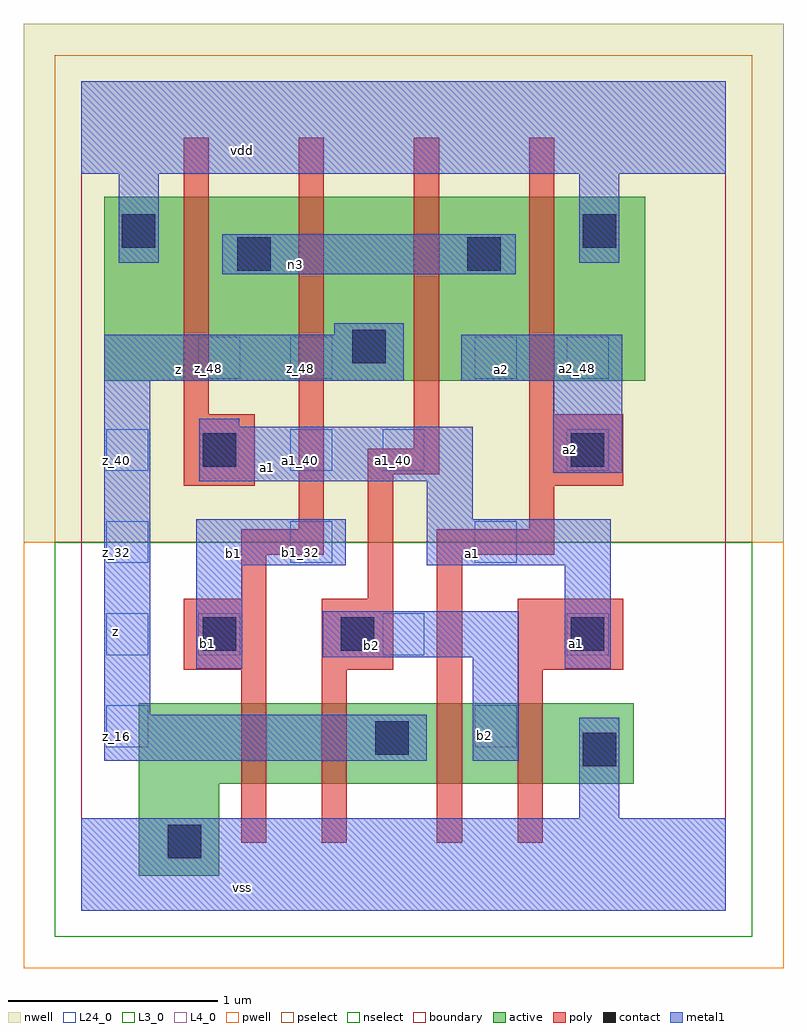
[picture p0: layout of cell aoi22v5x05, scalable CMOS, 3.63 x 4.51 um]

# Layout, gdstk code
import gdstk
lib = gdstk.Library(unit=1e-6, precision=2.5e-09)
def R(c, l, rs):  # rectangles x0, y0, x1, y1
    for r in rs: c.add(gdstk.rectangle(r[:2], r[2:], *l))
def A(c, l, x, y, w, h, nx, ny, dx, dy):  # array of equal rectangles
    R(c, l, [(x+i*dx, y+j*dy, x+i*dx+w, y+j*dy+h) for i in range(nx) for j in range(ny)])
L3_0 = (3, 0)
L4_0 = (4, 0)
L24_0 = (24, 0)
contact = (25, 0)
pwell = (41, 0)
nwell = (42, 0)
active = (43, 0)
pselect = (44, 0)
nselect = (45, 0)
poly = (46, 0)
metal1 = (49, 0)
boundary = (63, 0)

aoi22v5x05 = lib.new_cell('aoi22v5x05')
R(aoi22v5x05, L3_0, [(0.275,0.165,0.66,0.605), (0.275,0.605,2.64,0.99)])
R(aoi22v5x05, L4_0, [(0.11,2.53,2.695,3.41)])
A(aoi22v5x05, L24_0, 0.56, 1.22, 0.2, 0.2, 3, 1, 0.88, 0)
A(aoi22v5x05, L24_0, 0.12, 1.66, 0.2, 0.2, 3, 1, 0.88, 0)
R(aoi22v5x05, L24_0, [(0.12,0.78,0.32,0.98), (1.88,0.78,2.08,0.98), (0.12,1.22,0.32,1.42), (0.12,2.1,0.32,2.3), (1,2.1,1.2,2.3), (1.44,2.1,1.64,2.3), (2.32,2.1,2.52,2.3), (0.56,2.54,0.76,2.74), (1,2.54,1.2,2.74), (1.88,2.54,2.08,2.74), (2.32,2.54,2.52,2.74)])
R(aoi22v5x05, contact, [(0.415,0.25,0.575,0.41), (2.395,0.69,2.555,0.85), (1.405,0.745,1.565,0.905), (0.58,1.24,0.74,1.4), (1.24,1.24,1.4,1.4), (2.34,1.24,2.5,1.4), (0.58,2.12,0.74,2.28), (2.34,2.12,2.5,2.28), (1.295,2.615,1.455,2.775), (0.745,3.055,0.905,3.215), (1.845,3.055,2.005,3.215), (0.195,3.165,0.355,3.325), (2.395,3.165,2.555,3.325)])
R(aoi22v5x05, pwell, [(-0.275,-0.275,3.355,1.76)])
R(aoi22v5x05, nwell, [(-0.275,1.76,3.355,4.235)])
R(aoi22v5x05, active, [(0.275,0.165,0.66,0.605), (0.275,0.605,2.64,0.99), (0.11,2.53,2.695,3.41)])
R(aoi22v5x05, pselect, [(-0.125,1.76,3.205,4.085)])
R(aoi22v5x05, nselect, [(-0.125,-0.125,3.205,1.76)])
R(aoi22v5x05, poly, [(0.765,0.325,0.885,1.15), (1.15,0.325,1.27,1.15), (1.7,0.325,1.82,1.7), (2.085,0.325,2.205,1.15), (0.49,1.15,0.885,1.49), (1.15,1.15,1.49,1.49), (2.085,1.15,2.59,1.49), (0.765,1.49,0.885,1.7), (1.37,1.49,1.49,2.085), (0.765,1.7,1.16,1.82), (1.7,1.7,2.26,1.82), (1.04,1.82,1.16,3.69), (2.14,1.82,2.26,2.03), (0.49,2.03,0.83,2.37), (2.14,2.03,2.59,2.37), (1.37,2.085,1.71,2.205), (1.59,2.205,1.71,3.69), (0.49,2.37,0.61,3.69), (2.14,2.37,2.26,3.69)])
R(aoi22v5x05, metal1, [(0,0,3.08,0.44), (2.38,0.44,2.57,0.92), (0.11,0.715,1.65,0.935), (1.87,0.715,2.09,1.21), (0.11,0.935,0.33,2.53), (0.55,1.155,0.77,1.65), (2.31,1.155,2.53,1.65), (1.155,1.21,2.09,1.43), (0.55,1.65,1.265,1.87), (1.65,1.65,2.53,1.87), (1.65,1.87,1.87,2.05), (0.565,2.05,1.87,2.31), (2.255,2.09,2.585,2.53), (0.565,2.31,0.755,2.35), (0.11,2.53,1.54,2.75), (1.815,2.53,2.585,2.75), (1.21,2.75,1.54,2.805), (0.675,3.04,2.075,3.23), (0.18,3.095,0.37,3.52), (2.38,3.095,2.57,3.52), (0,3.52,3.08,3.96)])
R(aoi22v5x05, boundary, [(0,0,3.08,3.96)])
aoi22v5x05.add(gdstk.Label('vss', (0.77,0.11), layer=49, texttype=0))
aoi22v5x05.add(gdstk.Label('a1', (2.365,1.2775), layer=49, texttype=0))
aoi22v5x05.add(gdstk.Label('b2', (1.925,0.8375), layer=49, texttype=0))
aoi22v5x05.add(gdstk.Label('b2', (1.3875,1.265), layer=49, texttype=0))
aoi22v5x05.add(gdstk.Label('b1', (0.605,1.2775), layer=49, texttype=0))
aoi22v5x05.add(gdstk.Label('a1', (1.87,1.705), layer=49, texttype=0))
aoi22v5x05.add(gdstk.Label('b1', (0.7275,1.705), layer=49, texttype=0))
aoi22v5x05.add(gdstk.Label('a2', (2.3375,2.2), layer=49, texttype=0))
aoi22v5x05.add(gdstk.Label('a1', (0.89,2.115), layer=49, texttype=0))
aoi22v5x05.add(gdstk.Label('z', (0.165,1.3325), layer=49, texttype=0))
aoi22v5x05.add(gdstk.Label('a2', (2.0075,2.585), layer=49, texttype=0))
aoi22v5x05.add(gdstk.Label('z', (0.4675,2.585), layer=49, texttype=0))
aoi22v5x05.add(gdstk.Label('n3', (1.025,3.0875), layer=49, texttype=0))
aoi22v5x05.add(gdstk.Label('vdd', (0.77,3.63), layer=49, texttype=0))
aoi22v5x05.add(gdstk.Label('b1_24', (0.61,1.27), layer=24, texttype=0))
aoi22v5x05.add(gdstk.Label('z_48', (0.61,2.59), layer=24, texttype=0))
aoi22v5x05.add(gdstk.Label('b1_32', (1.05,1.71), layer=24, texttype=0))
aoi22v5x05.add(gdstk.Label('a1_40', (1.05,2.15), layer=24, texttype=0))
aoi22v5x05.add(gdstk.Label('z_48', (1.05,2.59), layer=24, texttype=0))
aoi22v5x05.add(gdstk.Label('b2_24', (1.49,1.27), layer=24, texttype=0))
aoi22v5x05.add(gdstk.Label('a1_40', (1.49,2.15), layer=24, texttype=0))
aoi22v5x05.add(gdstk.Label('b2_16', (1.93,0.83), layer=24, texttype=0))
aoi22v5x05.add(gdstk.Label('a1_32', (1.93,1.71), layer=24, texttype=0))
aoi22v5x05.add(gdstk.Label('a2_48', (1.93,2.59), layer=24, texttype=0))
aoi22v5x05.add(gdstk.Label('z_16', (0.17,0.83), layer=24, texttype=0))
aoi22v5x05.add(gdstk.Label('z_24', (0.17,1.27), layer=24, texttype=0))
aoi22v5x05.add(gdstk.Label('z_32', (0.17,1.71), layer=24, texttype=0))
aoi22v5x05.add(gdstk.Label('z_40', (0.17,2.15), layer=24, texttype=0))
aoi22v5x05.add(gdstk.Label('a1_24', (2.37,1.27), layer=24, texttype=0))
aoi22v5x05.add(gdstk.Label('a2_40', (2.37,2.15), layer=24, texttype=0))
aoi22v5x05.add(gdstk.Label('a2_48', (2.37,2.59), layer=24, texttype=0))

lib.write_gds('aoi22v5x05.gds')
